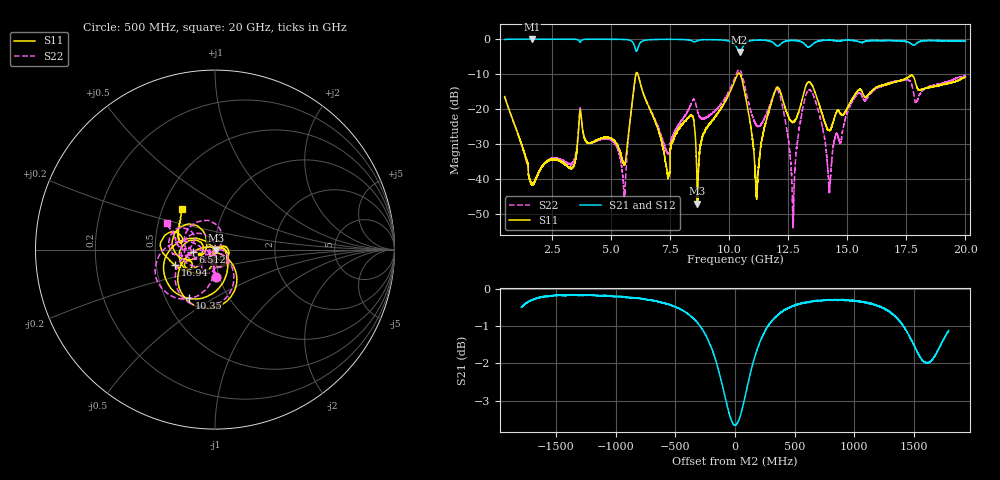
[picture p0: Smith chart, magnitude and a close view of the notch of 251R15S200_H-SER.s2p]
!{251R15S200}
!Johanson Technology Inc.
!www.johansontechnology.com
!Test Board Conditions:
!Substrate Type  RO4350B
!Substrate Thickness  20 mil
!Substrate Dk  3.66
!TL Type: GCPW
!TL Trace Width  34 mil
!TL Gap  10 mil
!Electrode orientation  Horizontal
!DUT TOPOLOGY	SERIES
!Mounting Pad LxW  26x52 mil
! Created Thu Mar 12 16:56:20 2020
# mhz S ma R 50
! 2 Port Network Data from SP1.SP block
! freq  magS11  angS11  magS21  angS21  magS12  angS12  magS22  angS22
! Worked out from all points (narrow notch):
!   19501 points, 500 MHz to 20 GHz, reference 50 ohm
!   highest |S21| = 0.00 dB at 1.645 GHz (marker M1); lowest = -3.7 dB at 10.45 GHz (marker M2)
!   notch at M2: 3.3 dB deep, 299 MHz wide at half that depth
!   lowest |S11| = -46.9 dB at 8.662 GHz (marker M3), VSWR 1.01, Z = 50.4 - j0.187 ohm
!   |S11| at or under -10 dB: start of sweep to 6.058 GHz; 6.139 GHz to 10.37 GHz (4.23 GHz wide, 51.3 % of centre); 10.46 GHz to end of sweep
!   |S22| runs from -53.8 to -8.7 dB; largest |S21 - S12| = 0.022
!   S11 on the Smith chart (normalised r, x): 500 MHz: 0.97, -0.30; 6.512 GHz: 0.78, -0.02; 10.35 GHz: 0.66, -0.39; 16.94 GHz: 0.63, -0.11; 20 GHz: 0.63, +0.31
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500  0.1512 -88.0  0.9859 2.2  0.9872 2.2  0.1506 -87.4
1645  0.008506 176.5  0.9997 -22.0  0.9987 -22.0  0.008506 -40.7
3750  0.07234 -107.1  0.9548 -52.7  0.9539 -52.7  0.07586 -110.7
5551  0.01641 -99.2  0.9871 -86.2  0.9865 -86.2  0.006117 -133.4
6053  0.3115 -83.6  0.6883 -96.8  0.6883 -96.8  0.3091 -89.3
6512  0.1262 -173.3  0.9691 -92.4  0.9696 -92.4  0.1277 -174.1
7000  0.05122 165.4  0.9882 -102.5  0.9883 -102.5  0.05571 -174.7
7403  0.01095 97.1  0.9901 -109.8  0.99 -109.7  0.02349 -125.8
8411  0.08097 -26.8  0.9474 -128.6  0.9466 -128.6  0.1234 -96.8
8662  0.004502 -24.3  0.9481 -128.0  0.9478 -128.0  0.09565 -132.4
10250  0.259 -97.8  0.8318 -164.7  0.8322 -164.8  0.2865 -112.9
10347  0.3075 -117.9  0.7336 -165.2  0.7334 -165.2  0.3444 -128.3
10445  0.3225 -146.4  0.6552 -156.6  0.6571 -156.7  0.3669 -151.3
11169  0.005796 -165.6  0.9649 -164.6  0.9651 -164.6  0.05772 -168.3
12088  0.2018 -171.6  0.8004 -178.3  0.8023 -178.3  0.1815 165.8
12704  0.06495 176.5  0.9564 170.7  0.9573 170.8  0.002526 -174.3
13500  0.2235 144.3  0.8229 165.6  0.8179 165.5  0.1764 112.9
14246  0.04991 171.7  0.9657 149.1  0.9645 149.1  0.00658 -58.4
15271  0.1501 -137.9  0.9516 130.1  0.9572 130.0  0.1381 -158.2
16750  0.2325 -155.4  0.954 106.3  0.9459 106.0  0.2365 -174.3
16941  0.2393 -159.0  0.9468 102.7  0.9442 102.7  0.2455 -177.4
20000  0.2883 129.0  0.9337 50.1  0.9285 50.3  0.3028 151.2
